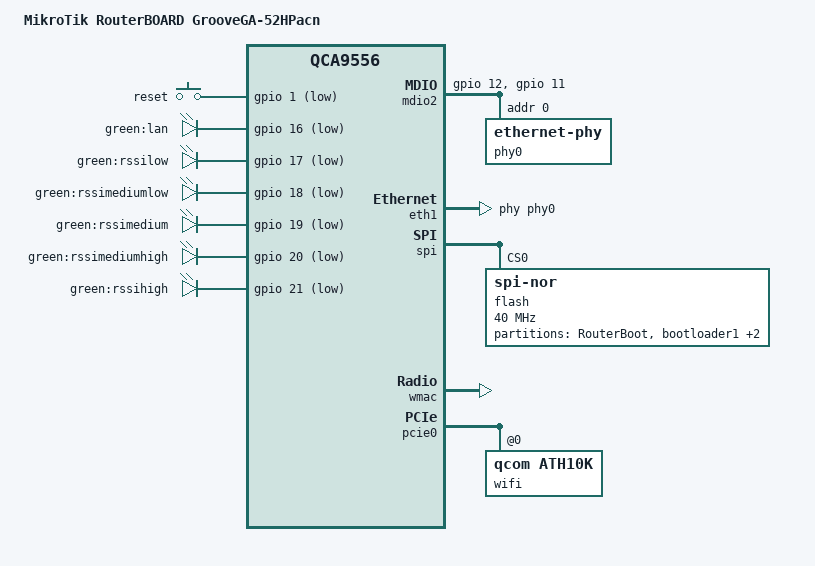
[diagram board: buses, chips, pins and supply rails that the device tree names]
// SPDX-License-Identifier: GPL-2.0-or-later OR MIT

#include "qca955x.dtsi"
#include <dt-bindings/gpio/gpio.h>
#include <dt-bindings/input/input.h>

/ {
	compatible = "mikrotik,routerboard-groovega-52HPacn", "qca,qca9556";
	model = "MikroTik RouterBOARD GrooveGA-52HPacn";

	aliases {
		mdio-gpio1 = &mdio2;
		serial0 = &uart;
	};

	keys {
		compatible = "gpio-keys";

		reset {
			label = "reset";
			linux,code = <KEY_RESTART>;
			gpios = <&gpio 1 GPIO_ACTIVE_LOW>;
			debounce-interval = <60>;
		};
	};
	leds: leds {
		compatible = "gpio-leds";
		
		// power {
		// 	label = "blue:power";
		// 	gpios = <&gpio 17 GPIO_ACTIVE_HIGH>;
		// 	default-state = "on";
		// };

		// led_user: user {
		// 	label = "green:user";
		// 	gpios = <&gpio 14 GPIO_ACTIVE_LOW>;
		// };

		lan {
			label = "green:lan";
			gpios = <&gpio 16 GPIO_ACTIVE_LOW>;
		};

		// wlan {
		// 	label = "green:wlan";
		// 	gpios = <&gpio 11 GPIO_ACTIVE_LOW>;
		// 	linux,default-trigger = "phy0tpt";
		// };

		rssilow {
			label = "green:rssilow";
			gpios = <&gpio 17 GPIO_ACTIVE_LOW>;
		};

		rssimediumlow {
			label = "green:rssimediumlow";
			gpios = <&gpio 18 GPIO_ACTIVE_LOW>;
		};

		rssimedium {
			label = "green:rssimedium";
			gpios = <&gpio 19 GPIO_ACTIVE_LOW>;
		};

		rssimediumhigh {
			label = "green:rssimediumhigh";
			gpios = <&gpio 20 GPIO_ACTIVE_LOW>;
		};

		rssihigh {
			label = "green:rssihigh";
			gpios = <&gpio 21 GPIO_ACTIVE_LOW>;
		};
	};

	mdio2: mdio {
		compatible = "virtual,mdio-gpio";

		gpios = <&gpio 12 GPIO_ACTIVE_HIGH>, /* MDC */
			<&gpio 11 GPIO_ACTIVE_HIGH>; /* MDIO */
		#address-cells = <1>;
		#size-cells = <0>;

		phy0: ethernet-phy@0 {
			reg = <0>;
			device_type = "ethernet-phy";

			phy-mode = "sgmii";

			at803x-override-sgmii-link-check;
		};
		
	};
};

&eth1 {
	status = "okay";

	pll-data = <0x03000101 0x80000101 0x80001313>;
	phy-handle = <&phy0>;

	qca955x-sgmii-fixup;

	gmac-config {
		device = <&gmac>;
	};
};

&spi {
	status = "okay";

	flash@0 {
		compatible = "jedec,spi-nor";
		reg = <0>;
		spi-max-frequency = <40000000>;

		partitions {
			compatible = "fixed-partitions";
			#address-cells = <1>;
			#size-cells = <1>;

			partition@0 {
				label = "RouterBoot";
				reg = <0x0 0x20000>;
				compatible = "mikrotik,routerboot-partitions";
				#address-cells = <1>;
				#size-cells = <1>;

				partition@0 {
					label = "bootloader1";
					reg = <0x0 0x0>;
					read-only;
				};

				hard_config: hard_config {
					label = "hard_config";
					read-only;
				};

				bios {
					label = "bios";
					size = <0x1000>;
					read-only;
				};

				partition@10000 {
					label = "bootloader2";
					reg = <0x10000 0x0>;
					read-only;
				};

				soft_config {
					label = "soft_config";
					
				};
			};

			partition@20000 {
				compatible = "mikrotik,minor";
				label = "firmware";
				reg = <0x020000 0xfe0000>;
			};
		};
	};
};

&wmac {
	status = "okay";

	qca,no-eeprom;
};

&pcie0 {
	status = "okay";

	wifi@0,0 {
		compatible = "qcom,ath10k";
		reg = <0 0 0 0 0>;
	};
};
